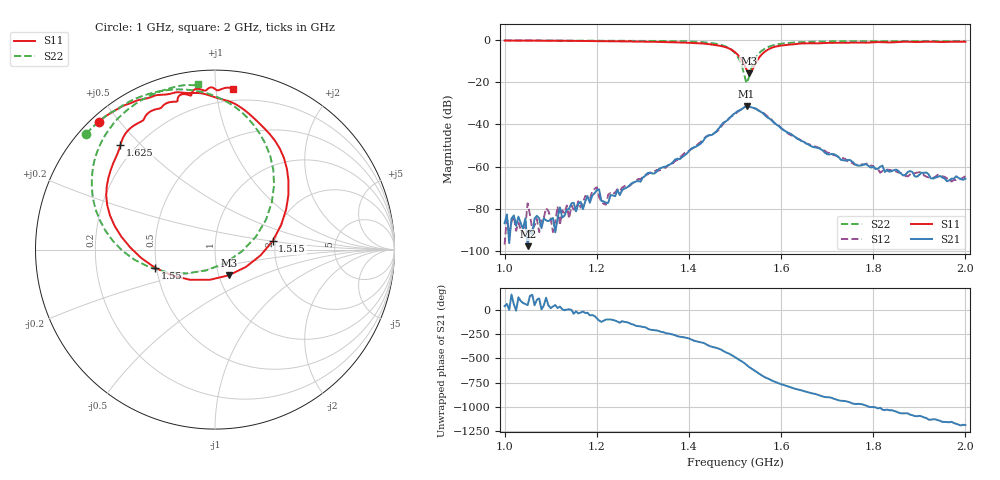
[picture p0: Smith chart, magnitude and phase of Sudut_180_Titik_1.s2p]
# Hz S RI R 50
! CMT, C1220, 16058040, 17.2.0/1
! Date: 14/08/2018 12:56:37
! Data: Format (Calibration Info)
! Freq  S11: Re/Im (F2)  S21: Re/Im (F2)  S12: Re/Im (F2)  S22: Re/Im (F2)
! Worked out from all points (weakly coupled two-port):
!   201 points, 1 GHz to 2 GHz, reference 50 ohm
!   highest |S21| = -31.39 dB at 1.525 GHz (marker M1); lowest = -97.6 dB at 1.05 GHz (marker M2)
!   lowest |S11| = -15.8 dB at 1.53 GHz (marker M3), VSWR 1.39, Z = 55.7 - j16.4 ohm
!   |S11| at or under -10 dB: 1.516 GHz to 1.548 GHz (32.06 MHz wide, 2.09 % of centre)
!   |S22| runs from -20.5 to -0.3 dB; largest |S21 - S12| = 0.0011
!   S11 on the Smith chart (normalised r, x): 1 GHz: 0.02, +0.44; 1.515 GHz: 1.93, +0.21; 1.55 GHz: 0.49, -0.11; 1.625 GHz: 0.14, +0.44; 2 GHz: 0.12, +1.11
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1e9  -0.6469 0.7133  3.61e-05 2.83e-05  -1.32e-05 -5.64e-06  -0.7191 0.6458
1.05e9  -0.5983 0.7502  8.82e-06 9.76e-06  8.14e-05 0.000108  -0.6825 0.6814
1.165e9  -0.4639 0.8185  0.000129 -7.04e-05  0.000106 -1.99e-05  -0.5822 0.7626
1.17e9  -0.4573 0.8214  9.44e-05 -3.05e-05  0.000132 -4.47e-05  -0.5768 0.7656
1.18e9  -0.4425 0.8276  0.000173 -0.000103  0.000158 -0.000117  -0.5654 0.7714
1.185e9  -0.4348 0.8306  7.67e-05 -0.000117  9.83e-05 -0.000141  -0.5597 0.7741
1.2e9  -0.4125 0.8356  2.15e-05 -0.000273  -1.75e-05 -0.000325  -0.5429 0.7777
1.22e9  -0.3838 0.8414  -2.37e-05 -0.000137  -8.74e-06 -0.000125  -0.5306 0.791
1.225e9  -0.3754 0.8438  -2.29e-05 -0.000138  1.18e-06 -0.00022  -0.5253 0.7958
1.245e9  -0.3419 0.8557  -0.000144 -0.00024  -0.000178 -0.000232  -0.5014 0.8111
1.335e9  -0.1798 0.8742  -0.00069 0.000549  -0.000553 0.000581  -0.3599 0.87
1.45e9  0.2004 0.7472  0.00528 -0.00199  0.00531 -0.00237  0.0471 0.8334
1.5e9  0.4094 0.3075  -0.0109 -0.0148  -0.0103 -0.0139  0.3292 0.36
1.515e9  0.3217 0.0485  -0.0228 -0.00352  -0.0229 -0.00417  0.2279 0.0724
1.525e9  0.1725 -0.0964  -0.0242 0.012  -0.0245 0.0119  0.0575 -0.0743
1.53e9  0.0762 -0.1434  -0.0181 0.019  -0.0183 0.0191  -0.0509 -0.1168
1.55e9  -0.335 -0.1006  0.00781 0.0202  0.00702 0.0205  -0.4486 -0.0564
1.58e9  -0.6003 0.2472  0.0122 -0.00171  0.0125 -0.00227  -0.6758 0.2648
1.625e9  -0.5271 0.5813  0.000547 -0.00555  0.000658 -0.00528  -0.6497 0.5618
1.67e9  -0.4103 0.7138  -0.00228 -0.00179  -0.00238 -0.00194  -0.5664 0.7011
1.835e9  -0.135 0.8575  0.000519 0.000549  0.000554 0.000624  -0.3148 0.8781
2e9  0.0993 0.8936  -0.000144 -0.000501  -0.000195 -0.000563  -0.0973 0.9223
